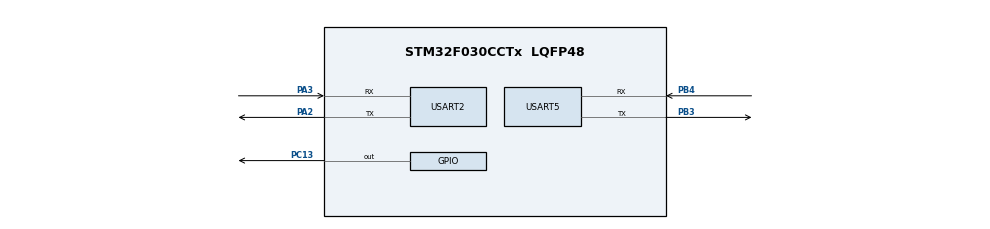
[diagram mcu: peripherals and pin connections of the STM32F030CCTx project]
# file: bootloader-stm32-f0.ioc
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IWDG.Prescaler=IWDG_PRESCALER_256
Mcu.Family=STM32F0
Mcu.Name=STM32F030CCTx
Mcu.Package=LQFP48
NVIC.RCC_IRQn=true\:0\:0\:false\:false\:true\:true\:false\:true
NVIC.TIM7_IRQn=true\:3\:0\:false\:false\:true\:false\:true\:true
NVIC.TimeBase=TIM7_IRQn
NVIC.TimeBaseIP=TIM7
PA2.Mode=Asynchronous
PA2.Signal=USART2_TX
PA3.Mode=Asynchronous
PA3.Signal=USART2_RX
PB3.Mode=Asynchronous
PB3.Signal=USART5_TX
PB4.Mode=Asynchronous
PB4.Signal=USART5_RX
PC13.Signal=GPIO_Output
PC14OSC32_IN.Mode=LSE-External-Oscillator
PC14OSC32_IN.Signal=RCC_OSC32_IN
PC15OSC32_OUT.Mode=LSE-External-Oscillator
PC15OSC32_OUT.Signal=RCC_OSC32_OUT
PF0-OSC_IN.Mode=HSE-External-Oscillator
PF0-OSC_IN.Signal=RCC_OSC_IN
PF1-OSC_OUT.Mode=HSE-External-Oscillator
PF1-OSC_OUT.Signal=RCC_OSC_OUT
ProjectManager.HeapSize=0x200
ProjectManager.StackSize=0x400
ProjectManager.TargetToolchain=STM32CubeIDE
RCC.AHBFreq_Value=48000000
RCC.APB1Freq_Value=48000000
RCC.APB1TimFreq_Value=48000000
RCC.EnbaleCSS=true
RCC.HCLKFreq_Value=48000000
RCC.I2c1ClockSelection=RCC_I2C1CLKSOURCE_SYSCLK
RCC.PLLMUL=RCC_PLL_MUL6
RCC.PLLSourceVirtual=RCC_PLLSOURCE_HSE
RCC.RTCClockSelection=RCC_RTCCLKSOURCE_LSE
RCC.SYSCLKFreq_VALUE=48000000
RCC.SYSCLKSource=RCC_SYSCLKSOURCE_PLLCLK
TIM6.AutoReloadPreload=TIM_AUTORELOAD_PRELOAD_ENABLE
TIM6.Period=0xFFFF
TIM6.Prescaler=48000
USART2.VirtualMode-Asynchronous=VM_ASYNC
USART5.VirtualMode-Asynchronous=VM_ASYNC
VP_IWDG_VS_IWDG.Mode=IWDG_Activate
VP_SYS_VS_tim7.Mode=TIM7
VP_TIM6_VS_ClockSourceINT.Mode=Enable_Timer
board=custom

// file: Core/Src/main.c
/* USER CODE BEGIN Header */
/**
 ******************************************************************************
 * @file           : main.c
 * @brief          : Main program body
 ******************************************************************************
 * @attention
 *
 * <h2><center>&copy; Copyright (c) 2023 STMicroelectronics.
 * All rights reserved.</center></h2>
 *
 * This software component is licensed by ST under Ultimate Liberty license
 * SLA0044, the "License"; You may not use this file except in compliance with
 * the License. You may obtain a copy of the License at:
 *                             www.st.com/SLA0044
 *
 ******************************************************************************
 */
/* USER CODE END Header */
#include "main.h"

#include "iap.h"
#include "stdbool.h"
#include "utils.h"

UART_HandleTypeDef huart2;
UART_HandleTypeDef huart5;

void SystemClock_Config(void);
static void MX_GPIO_Init(void);
static void MX_IWDG_Init(void);
static void MX_TIM6_Init(void);
static void MX_USART5_UART_Init(void);
static void MX_USART2_UART_Init(void);

int main(void) {

    /* MCU Configuration--------------------------------------------------------*/

    /* Reset of all peripherals, Initializes the Flash interface and the Systick. */
    HAL_Init();

    /* Configure the system clock */
    SystemClock_Config();

    /* Initialize all configured peripherals */
    MX_GPIO_Init();
    MX_IWDG_Init();
    MX_TIM6_Init();
    MX_USART5_UART_Init();
    MX_USART2_UART_Init();

    /* Infinite loop */
    /* USER CODE BEGIN WHILE */

    uint8_t buf[HEADER_SIZE] = {0};
    uint8_t recUart[1] = {0};
    uint8_t binBuff[2 * CHUNK_SIZE] = {0};
    uint16_t count = 0;
    uint16_t packetSize = 0;
    uint16_t binSize = 0;
    uint32_t buff_32bit[2 * CHUNK_SIZE] = {0};
    uint32_t receiveBuff_32bit[2 * CHUNK_SIZE] = {0};
    uint32_t flashDestination = 0;
    uint16_t pagesInParts = (PARTS_SIZE / ONE_PAGE_SIZE) + (PARTS_SIZE % ONE_PAGE_SIZE != 0);
    uint16_t checkSumFalse = 0;
    uint16_t chunksFromSource = 0;
    uint16_t chunksInProcess = 0;
    uint32_t flagAddressVal = 0;
    bool startBinStage = false;

    char stringBuff[30] = {0};

    HAL_StatusTypeDef uartState;

    LL_IWDG_SetReloadCounter(IWDG, 4095);  // 4095 for 27,17s
    LL_IWDG_ReloadCounter(IWDG);

    serialPutString((uint8_t *)"--BOOTLOADER APPLICATION--\r\n");
    // HAL_Delay(100);
    // serialPutString((uint8_t *)"Choose Number: \r\n");
    // HAL_Delay(100);
    // HAL_UART_Receive(&huart5, recUart, 1, 60000);  // waiting for user-input (1/2/3) in 60s
    // HAL_Delay(100);

    // intToStr(stringBuff, recUart[0]);
    // serialPutString(stringBuff);
    // serialPutString((uint8_t *)"\r\n");
    HAL_Delay(1000);

    // read flag address for OTA
    flagAddressVal = readSingleFlashMemory(FLAG_ADDRESS_OTA);
    intToStr(stringBuff, flagAddressVal);
    serialPutString(stringBuff);
    serialPutString((uint8_t *)"\r\n");

    // switch (recUart[0]) {
    switch (flagAddressVal) {
    case USER_APP_1_STAGE:
        goToApps(APPLICATION_ADDRESS_1);  // going to User App 1
        break;

    case USER_APP_2_STAGE:
        goToApps(APPLICATION_ADDRESS_2);  // going to User App 2
        break;

    case OTA_STAGE:
        serialPutString((uint8_t *)"Receiving Mode\r\n");  // ready to receiving serial from UART2
        break;

        // case 4:
        //     serialPutString((uint8_t *)"Writing to Flash Test\r\n");
        //     uint16_t idx = 0;
        //     for (size_t i = 0; i < 16; i += 4) {
        //         buff_32bit[idx] = (testChar_8bit[i + 3] << 24) |
        //                           (testChar_8bit[i + 2] << 16) |
        //                           (testChar_8bit[i + 1] << 8) |
        //                           (testChar_8bit[i]);
        //         idx++;
        //     }

        //     Flash_Write_Data(0x08023000, buff_32bit, 16);
        //     break;

        // case 5:
        //     eraseFlashMemory(APPLICATION_ADDRESS_1, PARTS_SIZE);
        //     serialPutString((uint8_t *)"Erase Flash Memory\r\n");
        //     uint16_t idxs = 0;
        //     for (size_t i = 0; i < 24; i += 4) {
        //         buff_32bit[idxs] = (testChar_8bit[i + 3] << 24) |
        //                            (testChar_8bit[i + 2] << 16) |
        //                            (testChar_8bit[i + 1] << 8) |
        //                            (testChar_8bit[i]);
        //         idxs++;
        //     }
        //     writeFlashMemory(APPLICATION_ADDRESS_2, buff_32bit, 6);
        //     serialPutString((uint8_t *)"Write Flash Memory\r\n");
        //     break;

        // case 6:
        //     serialPutString((uint8_t *)"Copy Flash Memory Start...\r\n");

        //     eraseFlashMemory(APPLICATION_ADDRESS_2, PARTS_SIZE);
        //     serialPutString((uint8_t *)"Erase Flash Memory Start...\r\n");

        //     copyFlashMemory(APPLICATION_ADDRESS_1, APPLICATION_ADDRESS_2);

        //     serialPutString((uint8_t *)"Copy Flash Memory Finished...\r\n");
        //     break;

    case ROLLBACK_STAGE:  // testing for rollback flash memory to source address
        rollbackFlashMemory(pagesInParts);
        HAL_Delay(1000);
        eraseFlashMemory(FLAG_ADDRESS_OTA, 1);
        writeSingleFlashMemory(FLAG_ADDRESS_OTA, USER_APP_1_STAGE);
        goToApps(APPLICATION_ADDRESS_1);
        HAL_Delay(1000);

        break;

    default:
        // serialPutString((uint8_t *)"Wrong Number...\r\n");
        // NVIC_SystemReset();
        eraseFlashMemory(FLAG_ADDRESS_OTA, 1);
        writeSingleFlashMemory(FLAG_ADDRESS_OTA, USER_APP_1_STAGE);
        goToApps(APPLICATION_ADDRESS_1);
        HAL_Delay(1000);
        break;
    }

    serialPutString((uint8_t *)"Waiting for Bytes...\r\n");
    while (1) {
        // LL_IWDG_ReloadCounter(IWDG);

        uartState = HAL_UART_Receive(&huart2, buf, HEADER_SIZE, RECEIVE_FROM_ESP32_TIMEOUT);
        if (uartState == HAL_OK) {
            // serialPutByte(buf[0]);
            // serialPutByte(buf[1]);
            // serialPutByte(buf[2]);
            // LL_IWDG_ReloadCounter(IWDG);
            switch (buf[0]) {  // header for erase flash page before flash
            case START_BIN_HEADER:
                if (!startBinStage) {  // ensure only once pass this process
                    backupFlashMemory(pagesInParts);

                    eraseFlashMemory(APPLICATION_ADDRESS_1, pagesInParts);
                    serialPutString((uint8_t *)"Erase Source Flash Memory Finished...\r\n");

                    flashDestination = APPLICATION_ADDRESS_1;

                    eraseFlashMemory(FLAG_ADDRESS_OTA, 1);
                    writeSingleFlashMemory(FLAG_ADDRESS_OTA, ROLLBACK_STAGE);

                    startBinStage = true;
                }

                break;

            case PACKAGE_BIN_HEADER:                    // header for receive .bin (chunk size)
                if (startBinStage) {                    // must pass START_BIN_HEADER stage first
                    packetSize = buf[1] << 8 | buf[2];  // packet's  length
                }

                break;

            case FINISHED_BIN_HEADER:  // header for finished receive chunk
                serialPutString((uint8_t *)"\nFinished received chunk...\r\n");

                chunksFromSource = buf[1] << 8 | buf[2];
                intToStr(stringBuff, chunksFromSource);
                serialPutString((uint8_t *)"\nChunk From Source: ");
                serialPutString(stringBuff);

                intToStr(stringBuff, binSize);
                serialPutString((uint8_t *)"\n.bin Size: ");
                serialPutString(stringBuff);

                // in this section will be a decision will rollback or not
                // if true, continue to firmware
                // if false, rollback
                if (checkSumFalse > 0 || (chunksFromSource != chunksInProcess)) {
                    serialPutString((uint8_t *)"\n\nChecksum failed...\r\n");
                    rollbackFlashMemory(pagesInParts);
                    HAL_Delay(1000);
                    eraseFlashMemory(FLAG_ADDRESS_OTA, 1);
                    writeSingleFlashMemory(FLAG_ADDRESS_OTA, USER_APP_1_STAGE);
                    goToApps(APPLICATION_ADDRESS_1);
                    HAL_Delay(1000);

                } else if (checkSumFalse == 0 && (chunksFromSource == chunksInProcess)) {
                    serialPutString((uint8_t *)"\n\nChecksum OK, go to user apps...\r\n");
                    HAL_Delay(1000);
                    eraseFlashMemory(FLAG_ADDRESS_OTA, 1);
                    writeSingleFlashMemory(FLAG_ADDRESS_OTA, USER_APP_1_STAGE);
                    HAL_Delay(1000);
                    goToApps(APPLICATION_ADDRESS_1);
                }

                packetSize = 0;
                binSize = 0;

                break;

            default:
                break;
            }
            if (packetSize > HEADER_SIZE) {  // packet's size MUST greater than header's size
                uartState = HAL_UART_Receive(&huart2, binBuff, CHUNK_SIZE + CRC_SIZE, RECEIVE_FROM_ESP32_TIMEOUT);
                if (uartState == HAL_OK) {

                    // calculating crc's value from .bin chunk
                    uint16_t crcModbusCal = modbusCRC16Cal(binBuff, packetSize);

                    // .bin crc checking
                    if (crcModbusCal == (binBuff[CHUNK_SIZE + 1] << 8 | binBuff[CHUNK_SIZE])) {
                        for (uint32_t i = 0; i < CHUNK_SIZE + CRC_SIZE; i++) {
                            serialPutByte(binBuff[i]);
                        }

                        // convert from 8bit to 32bit in one array
                        uint32_t idx = 0;
                        uint32_t num = (packetSize / 4) + ((packetSize % 4) != 0);
                        char stringBuff[10] = {0};

                        for (size_t i = 0; i < packetSize; i += 4) {
                            buff_32bit[idx] = (binBuff[i + 3] << 24) |
                                              (binBuff[i + 2] << 16) |
                                              (binBuff[i + 1] << 8) |
                                              (binBuff[i]);

                            idx++;
                        }

                        // writing to flash
                        writeFlashMemory(flashDestination, buff_32bit, num);

                        flashDestination += packetSize;  // shifting flash address
                        binSize += packetSize;           // for checking file size after all .bin writes completely
                        chunksInProcess++;

                        HAL_GPIO_TogglePin(GPIOC, GPIO_PIN_13);

                        serialPutString((uint8_t *)"====>CRC OK, Write Flash Memory\r\n");
                    } else {
                        checkSumFalse++;
                    }
                    LL_IWDG_ReloadCounter(IWDG);
                }
            }
        }

        // LL_IWDG_ReloadCounter(IWDG);
        /* USER CODE END WHILE */

    }
}

void SystemClock_Config(void) {
    LL_FLASH_SetLatency(LL_FLASH_LATENCY_1);
    while (LL_FLASH_GetLatency() != LL_FLASH_LATENCY_1) {
    }
    LL_RCC_HSE_Enable();

    /* Wait till HSE is ready */
    while (LL_RCC_HSE_IsReady() != 1) {
    }
    LL_RCC_LSI_Enable();

    /* Wait till LSI is ready */
    while (LL_RCC_LSI_IsReady() != 1) {
    }
    LL_RCC_HSE_EnableCSS();
    LL_RCC_PLL_ConfigDomain_SYS(LL_RCC_PLLSOURCE_HSE, LL_RCC_PLL_MUL_6, LL_RCC_PREDIV_DIV_1);
    LL_RCC_PLL_Enable();

    /* Wait till PLL is ready */
    while (LL_RCC_PLL_IsReady() != 1) {
    }
    LL_RCC_SetAHBPrescaler(LL_RCC_SYSCLK_DIV_1);
    LL_RCC_SetAPB1Prescaler(LL_RCC_APB1_DIV_1);
    LL_RCC_SetSysClkSource(LL_RCC_SYS_CLKSOURCE_PLL);

    /* Wait till System clock is ready */
    while (LL_RCC_GetSysClkSource() != LL_RCC_SYS_CLKSOURCE_STATUS_PLL) {
    }
    LL_SetSystemCoreClock(48000000);

    /* Update the time base */
    if (HAL_InitTick(TICK_INT_PRIORITY) != HAL_OK) {
        Error_Handler();
    }
}

static void MX_IWDG_Init(void) {

    LL_IWDG_Enable(IWDG);
    LL_IWDG_EnableWriteAccess(IWDG);
    LL_IWDG_SetPrescaler(IWDG, LL_IWDG_PRESCALER_256);
    LL_IWDG_SetReloadCounter(IWDG, 4095);
    while (LL_IWDG_IsReady(IWDG) != 1) {
    }

    LL_IWDG_ReloadCounter(IWDG);
}

static void MX_TIM6_Init(void) {

    LL_TIM_InitTypeDef TIM_InitStruct = {0};

    /* Peripheral clock enable */
    LL_APB1_GRP1_EnableClock(LL_APB1_GRP1_PERIPH_TIM6);

    TIM_InitStruct.Prescaler = 48000;
    TIM_InitStruct.CounterMode = LL_TIM_COUNTERMODE_UP;
    TIM_InitStruct.Autoreload = 0xFFFF;
    LL_TIM_Init(TIM6, &TIM_InitStruct);
    LL_TIM_EnableARRPreload(TIM6);
}

static void MX_USART2_UART_Init(void) {

    huart2.Instance = USART2;
    huart2.Init.BaudRate = 115200;
    huart2.Init.WordLength = UART_WORDLENGTH_8B;
    huart2.Init.StopBits = UART_STOPBITS_1;
    huart2.Init.Parity = UART_PARITY_NONE;
    huart2.Init.Mode = UART_MODE_TX_RX;
    huart2.Init.HwFlowCtl = UART_HWCONTROL_NONE;
    huart2.Init.OverSampling = UART_OVERSAMPLING_16;
    huart2.Init.OneBitSampling = UART_ONE_BIT_SAMPLE_DISABLE;
    huart2.AdvancedInit.AdvFeatureInit = UART_ADVFEATURE_NO_INIT;
    if (HAL_UART_Init(&huart2) != HAL_OK) {
        Error_Handler();
    }
}

static void MX_USART5_UART_Init(void) {

    huart5.Instance = USART5;
    huart5.Init.BaudRate = 115200;
    huart5.Init.WordLength = UART_WORDLENGTH_8B;
    huart5.Init.StopBits = UART_STOPBITS_1;
    huart5.Init.Parity = UART_PARITY_NONE;
    huart5.Init.Mode = UART_MODE_TX_RX;
    huart5.Init.HwFlowCtl = UART_HWCONTROL_NONE;
    huart5.Init.OverSampling = UART_OVERSAMPLING_16;
    huart5.Init.OneBitSampling = UART_ONE_BIT_SAMPLE_DISABLE;
    huart5.AdvancedInit.AdvFeatureInit = UART_ADVFEATURE_NO_INIT;
    if (HAL_UART_Init(&huart5) != HAL_OK) {
        Error_Handler();
    }
}

static void MX_GPIO_Init(void) {
    GPIO_InitTypeDef GPIO_InitStruct = {0};

    /* GPIO Ports Clock Enable */
    __HAL_RCC_GPIOC_CLK_ENABLE();
    __HAL_RCC_GPIOF_CLK_ENABLE();
    __HAL_RCC_GPIOA_CLK_ENABLE();
    __HAL_RCC_GPIOB_CLK_ENABLE();

    /*Configure GPIO pin Output Level */
    HAL_GPIO_WritePin(GPIOC, GPIO_PIN_13, GPIO_PIN_RESET);

    /*Configure GPIO pin : PC13 */
    GPIO_InitStruct.Pin = GPIO_PIN_13;
    GPIO_InitStruct.Mode = GPIO_MODE_OUTPUT_PP;
    GPIO_InitStruct.Pull = GPIO_NOPULL;
    GPIO_InitStruct.Speed = GPIO_SPEED_FREQ_LOW;
    HAL_GPIO_Init(GPIOC, &GPIO_InitStruct);

}

void HAL_TIM_PeriodElapsedCallback(TIM_HandleTypeDef *htim) {
    if (htim->Instance == TIM7) {
        HAL_IncTick();
    }
}

void Error_Handler(void) {
    __disable_irq();
    while (1) {
    }
}
